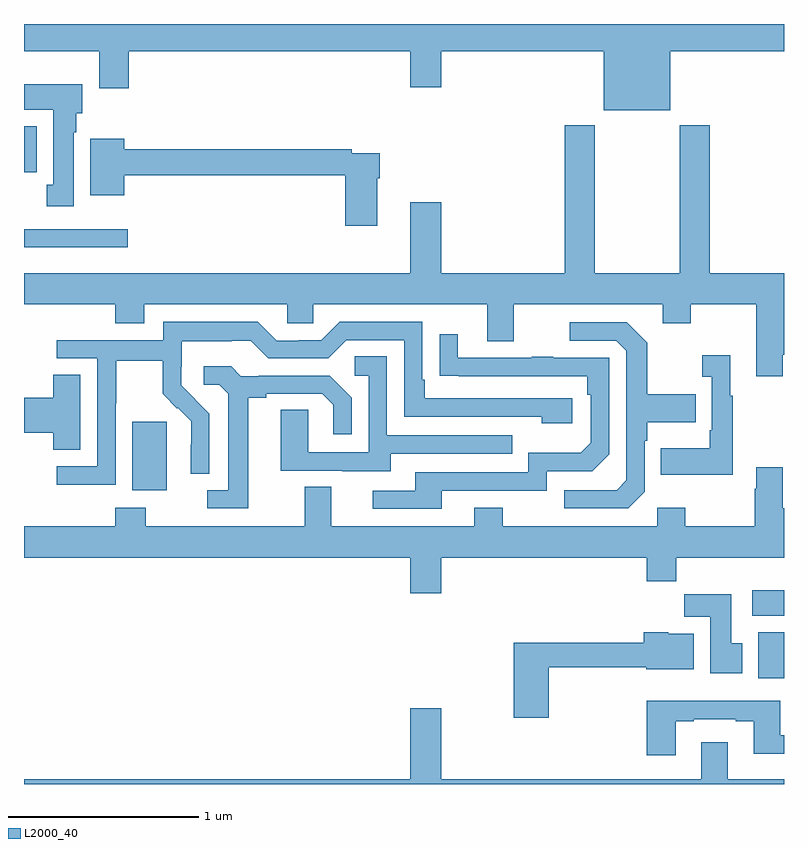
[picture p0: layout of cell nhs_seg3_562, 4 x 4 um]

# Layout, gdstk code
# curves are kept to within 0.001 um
import gdstk
lib = gdstk.Library(unit=1e-6, precision=1e-09)
def R(c, l, rs):  # rectangles x0, y0, x1, y1
    for r in rs: c.add(gdstk.rectangle(r[:2], r[2:], *l))
def P(c, l, *ps):  # polygons
    for p in ps: c.add(gdstk.Polygon(p, *l))
L2000_40 = (2000, 40)

nhs_seg3_562 = lib.new_cell('nhs_seg3_562')
R(nhs_seg3_562, L2000_40, [(142.865,690.956,143,691.198), (142.833,691.286,143,691.42), (139.571,691.946,139.75,692.307), (139,693.224,139.546,693.321), (139,693.62,139.066,693.862)])
P(nhs_seg3_562, L2000_40, [(142.402,694.256),(143,694.256),(143,694.4),(139,694.4),(139,694.256),(139.397,694.256),(139.397,694.062),(139.55,694.062),(139.55,694.256),(141.032,694.256),(141.032,694.068),(141.196,694.068),(141.196,694.256),(142.052,694.256),(142.052,693.947),(142.402,693.947)],
  [(139.261,693.83),(139.276,693.83),(139.276,693.93),(139.306,693.93),(139.306,694.084),(139,694.084),(139,693.95),(139.154,693.95),(139.154,693.554),(139.121,693.554),(139.121,693.441),(139.261,693.441)],
  [(142.361,692.825),(142.509,692.825),(142.509,692.924),(142.853,692.924),(142.853,692.547),(142.993,692.547),(142.993,692.659),(143,692.659),(143,693.088),(142.61,693.088),(142.61,693.868),(142.45,693.868),(142.45,693.088),(142.005,693.088),(142.005,693.868),(141.845,693.868),(141.845,693.088),(141.196,693.088),(141.196,693.463),(141.032,693.463),(141.032,693.088),(139,693.088),(139,692.924),(139.481,692.924),(139.481,692.825),(139.633,692.825),(139.633,692.924),(140.385,692.924),(140.385,692.826),(140.523,692.826),(140.523,692.924),(141.437,692.924),(141.437,692.73),(141.577,692.73),(141.577,692.924),(142.361,692.924)],
  [(140.86,693.587),(140.873,693.587),(140.873,693.72),(140.726,693.72),(140.726,693.74),(139.528,693.74),(139.528,693.796),(139.349,693.796),(139.349,693.5),(139.528,693.5),(139.528,693.604),(140.69,693.604),(140.69,693.339),(140.86,693.339)],
  [(139.482,692.404),(139.485,692.404),(139.485,692.628),(139.729,692.628),(139.729,692.453),(139.806,692.376),(139.809,692.379),(139.88,692.309),(139.88,692.186),(139.878,692.186),(139.878,692.032),(139.974,692.032),(139.974,692.35),(139.828,692.498),(139.828,692.595),(139.83,692.595),(139.83,692.729),(140.093,692.729),(140.093,692.733),(140.193,692.733),(140.286,692.64),(140.601,692.64),(140.697,692.736),(141,692.736),(141,692.334),(141.725,692.334),(141.725,692.3),(141.886,692.3),(141.886,692.43),(141.109,692.43),(141.109,692.527),(141.096,692.527),(141.096,692.832),(140.661,692.832),(140.565,692.736),(140.447,692.736),(140.447,692.733),(140.331,692.733),(140.231,692.833),(139.734,692.833),(139.734,692.736),(139.173,692.736),(139.173,692.64),(139.386,692.64),(139.386,692.073),(139.173,692.073),(139.173,691.975),(139.482,691.975)],
  [(142.266,691.938),(142.266,692.207),(142.279,692.207),(142.279,692.303),(142.535,692.303),(142.535,692.451),(142.279,692.451),(142.279,692.723),(142.173,692.829),(141.873,692.829),(141.873,692.733),(142.116,692.733),(142.17,692.679),(142.17,691.998),(142.119,691.947),(141.843,691.947),(141.843,691.851),(142.179,691.851)],
  [(141.199,691.944),(141.75,691.944),(141.75,692.046),(141.99,692.046),(142.08,692.136),(142.08,692.643),(141.785,692.643),(141.785,692.648),(141.673,692.648),(141.673,692.643),(141.283,692.643),(141.283,692.767),(141.187,692.767),(141.187,692.548),(141.964,692.547),(141.964,692.45),(141.984,692.45),(141.984,692.196),(141.931,692.143),(141.654,692.143),(141.654,692.04),(141.059,692.04),(141.059,691.944),(140.835,691.944),(140.835,691.848),(141.199,691.848)],
  [(142.729,692.443),(142.717,692.443),(142.717,692.656),(142.569,692.656),(142.569,692.543),(142.62,692.543),(142.62,692.263),(142.608,692.263),(142.608,692.167),(142.351,692.167),(142.351,692.027),(142.729,692.027)],
  [(140.929,692.139),(141.569,692.139),(141.569,692.235),(140.91,692.235),(140.91,692.651),(140.742,692.651),(140.742,692.55),(140.814,692.55),(140.814,692.145),(140.496,692.145),(140.496,692.369),(140.351,692.369),(140.351,692.049),(140.675,692.049),(140.675,692.045),(140.929,692.045)],
  [(140.179,692.432),(140.275,692.432),(140.275,692.454),(140.57,692.454),(140.627,692.397),(140.627,692.241),(140.724,692.241),(140.724,692.434),(140.608,692.55),(140.236,692.55),(140.236,692.547),(140.142,692.547),(140.09,692.599),(139.947,692.599),(139.947,692.502),(140.028,692.502),(140.075,692.455),(140.075,691.947),(139.965,691.947),(139.965,691.851),(140.179,691.851)],
  [(139.297,692.555),(139.154,692.555),(139.154,692.432),(139,692.432),(139,692.249),(139.154,692.249),(139.154,692.158),(139.297,692.158)],
  [(141.196,691.592),(142.277,691.592),(142.277,691.468),(142.433,691.468),(142.433,691.592),(143,691.592),(143,691.852),(142.993,691.852),(142.993,692.068),(142.853,692.068),(142.853,691.955),(142.846,691.955),(142.846,691.756),(142.479,691.756),(142.479,691.855),(142.332,691.855),(142.332,691.756),(141.519,691.756),(141.519,691.855),(141.371,691.855),(141.371,691.756),(140.617,691.756),(140.617,691.964),(140.477,691.964),(140.477,691.756),(139.641,691.756),(139.641,691.855),(139.481,691.855),(139.481,691.756),(139,691.756),(139,691.592),(141.032,691.592),(141.032,691.404),(141.196,691.404)],
  [(142.78,691.14),(142.723,691.14),(142.723,691.399),(142.474,691.399),(142.474,691.28),(142.613,691.28),(142.613,690.984),(142.78,690.984)],
  [(141.761,691.015),(142.274,691.015),(142.274,691.004),(142.525,691.004),(142.525,691.192),(142.392,691.192),(142.392,691.198),(142.262,691.198),(142.262,691.144),(141.578,691.144),(141.578,690.75),(141.761,690.75)],
  [(142.429,690.729),(142.525,690.729),(142.525,690.741),(142.745,690.741),(142.745,690.729),(142.841,690.729),(142.841,690.56),(143,690.56),(143,690.657),(142.981,690.657),(142.981,690.838),(142.277,690.838),(142.277,690.552),(142.429,690.552)],
  [(143,690.424),(142.705,690.424),(142.705,690.619),(142.565,690.619),(142.565,690.424),(141.196,690.424),(141.196,690.799),(141.032,690.799),(141.032,690.424),(139,690.424),(139,690.4),(143,690.4)])

lib.write_gds('nhs_seg3_562.gds')
